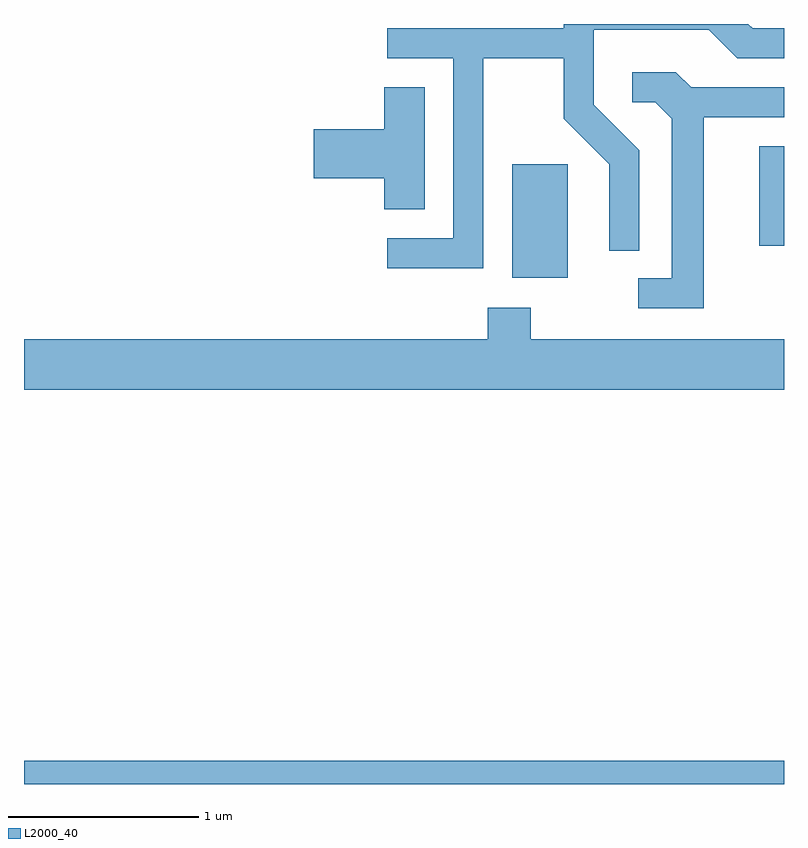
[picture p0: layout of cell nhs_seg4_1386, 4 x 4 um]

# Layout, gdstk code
import gdstk
lib = gdstk.Library(unit=1e-6, precision=1e-09)
def R(c, l, rs):  # rectangles x0, y0, x1, y1
    for r in rs: c.add(gdstk.rectangle(r[:2], r[2:], *l))
def P(c, l, *ps):  # polygons
    for p in ps: c.add(gdstk.Polygon(p, *l))
L2000_40 = (2000, 40)

nhs_seg4_1386 = lib.new_cell('nhs_seg4_1386')
R(nhs_seg4_1386, L2000_40, [(225.611,1305.982,229.611,1306.104), (228.181,1308.646,228.474,1309.244), (229.481,1308.816,229.611,1309.339)])
P(nhs_seg4_1386, L2000_40, [(228.029,1309.801),(228.451,1309.801),(228.451,1309.484),(228.691,1309.244),(228.691,1308.788),(228.849,1308.788),(228.849,1309.317),(228.609,1309.557),(228.609,1309.951),(229.214,1309.951),(229.364,1309.801),(229.611,1309.801),(229.611,1309.959),(229.447,1309.959),(229.424,1309.982),(228.451,1309.982),(228.451,1309.959),(227.523,1309.959),(227.523,1309.801),(227.871,1309.801),(227.871,1308.854),(227.523,1308.854),(227.523,1308.696),(228.029,1308.696)],
  [(229.189,1309.491),(229.611,1309.491),(229.611,1309.649),(229.122,1309.649),(229.042,1309.729),(228.813,1309.729),(228.813,1309.571),(228.934,1309.571),(229.021,1309.484),(229.021,1308.644),(228.843,1308.644),(228.843,1308.486),(229.189,1308.486)],
  [(227.719,1309.649),(227.506,1309.649),(227.506,1309.429),(227.136,1309.429),(227.136,1309.171),(227.506,1309.171),(227.506,1309.006),(227.719,1309.006)],
  [(229.611,1308.324),(228.279,1308.324),(228.279,1308.489),(228.051,1308.489),(228.051,1308.324),(225.611,1308.324),(225.611,1308.056),(229.611,1308.056)])

lib.write_gds('nhs_seg4_1386.gds')
